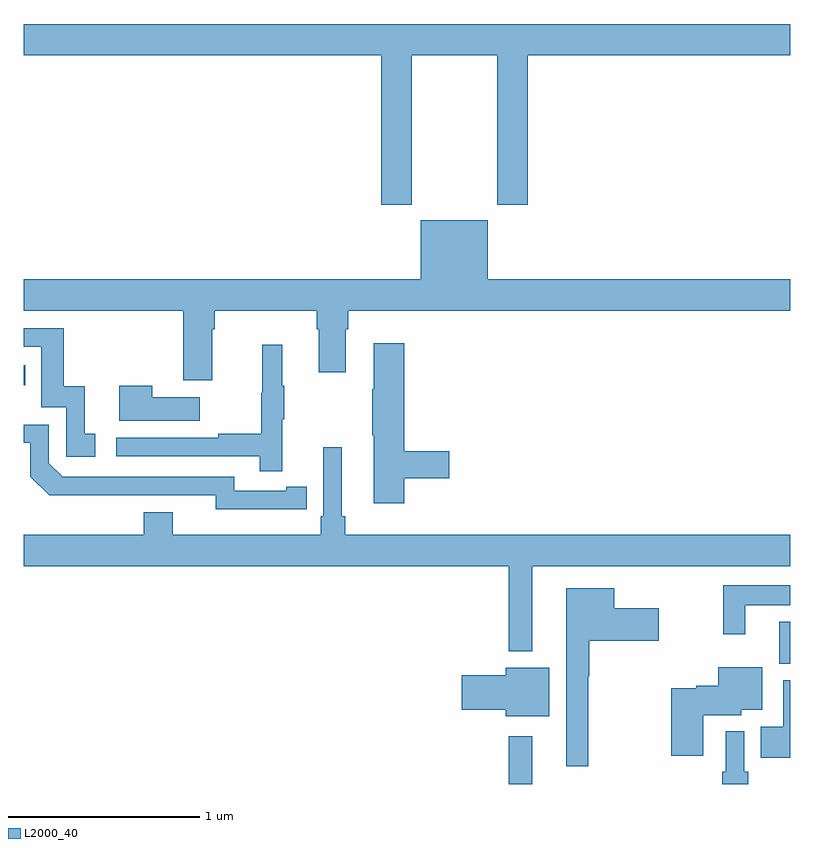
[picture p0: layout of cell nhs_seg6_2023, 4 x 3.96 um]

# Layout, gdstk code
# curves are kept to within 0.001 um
import gdstk
lib = gdstk.Library(unit=1e-6, precision=1e-09)
def R(c, l, rs):  # rectangles x0, y0, x1, y1
    for r in rs: c.add(gdstk.rectangle(r[:2], r[2:], *l))
def P(c, l, *ps):  # polygons
    for p in ps: c.add(gdstk.Polygon(p, *l))
L2000_40 = (2000, 40)

nhs_seg6_2023 = lib.new_cell('nhs_seg6_2023')
R(nhs_seg6_2023, L2000_40, [(233.532,979.5,233.653,979.75), (234.941,980.127,235,980.347), (231,981.579,231.008,981.685)])
P(nhs_seg6_2023, L2000_40, [(233.025,983.3),(233.47,983.3),(233.47,982.521),(233.63,982.521),(233.63,983.3),(235,983.3),(235,983.464),(231,983.464),(231,983.3),(232.865,983.3),(232.865,982.521),(233.025,982.521)],
  [(231.985,981.872),(231.998,981.872),(231.998,981.968),(232.529,981.968),(232.529,981.872),(232.541,981.872),(232.541,981.648),(232.681,981.648),(232.681,981.872),(232.694,981.872),(232.694,981.968),(235,981.968),(235,982.132),(233.422,982.132),(233.422,982.441),(233.072,982.441),(233.072,982.132),(231,982.132),(231,981.968),(231.833,981.968),(231.833,981.606),(231.985,981.606)],
  [(231.373,981.327),(231.32,981.327),(231.32,981.574),(231.209,981.574),(231.209,981.876),(231,981.876),(231,981.78),(231.093,981.78),(231.093,981.465),(231.222,981.465),(231.222,981.207),(231.373,981.207)],
  [(232.985,981.094),(233.221,981.094),(233.221,981.236),(232.985,981.236),(232.985,981.799),(232.826,981.799),(232.826,981.56),(232.819,981.56),(232.819,981.319),(232.826,981.319),(232.826,980.964),(232.985,980.964)],
  [(232.349,981.403),(232.36,981.403),(232.36,981.577),(232.349,981.577),(232.349,981.79),(232.246,981.79),(232.246,981.54),(232.239,981.54),(232.239,981.326),(232.015,981.326),(232.015,981.306),(231.483,981.306),(231.483,981.21),(232.231,981.21),(232.231,981.132),(232.349,981.132)],
  [(231.919,981.517),(231.671,981.517),(231.671,981.577),(231.5,981.577),(231.5,981.395),(231.919,981.395)],
  [(232.37,980.934),(232.478,980.934),(232.478,981.05),(232.37,981.05),(232.37,981.03),(232.098,981.03),(232.098,981.102),(231.204,981.102),(231.132,981.174),(231.132,981.375),(231,981.375),(231,981.279),(231.036,981.279),(231.036,981.102),(231.134,981.005),(232.002,981.006),(232.002,980.933)],
  [(233.653,980.636),(235,980.636),(235,980.8),(232.679,980.8),(232.679,980.896),(232.66,980.896),(232.66,981.256),(232.563,981.256),(232.563,980.896),(232.55,980.896),(232.55,980.8),(231.778,980.8),(231.778,980.917),(231.626,980.917),(231.626,980.8),(231,980.8),(231,980.636),(233.532,980.636),(233.532,980.192),(233.653,980.192)],
  [(234.763,980.432),(235,980.432),(235,980.536),(234.649,980.536),(234.649,980.28),(234.763,980.28)],
  [(233.945,980.062),(233.95,980.062),(233.95,980.246),(234.313,980.246),(234.313,980.416),(234.082,980.416),(234.082,980.521),(233.831,980.521),(233.831,979.593),(233.945,979.593)],
  [(234.544,979.859),(234.744,979.859),(234.744,979.886),(234.853,979.886),(234.853,980.11),(234.623,980.11),(234.623,980.012),(234.509,980.012),(234.509,979.999),(234.379,979.999),(234.379,979.647),(234.544,979.647)],
  [(233.743,980.107),(233.516,980.107),(233.516,980.066),(233.286,980.066),(233.286,979.888),(233.516,979.888),(233.516,979.853),(233.743,979.853)],
  [(235,980.042),(234.962,980.042),(234.962,979.798),(234.844,979.798),(234.844,979.637),(235,979.637)],
  [(234.779,979.564),(234.759,979.564),(234.759,979.774),(234.663,979.774),(234.663,979.564),(234.643,979.564),(234.643,979.5),(234.779,979.5)])

lib.write_gds('nhs_seg6_2023.gds')
